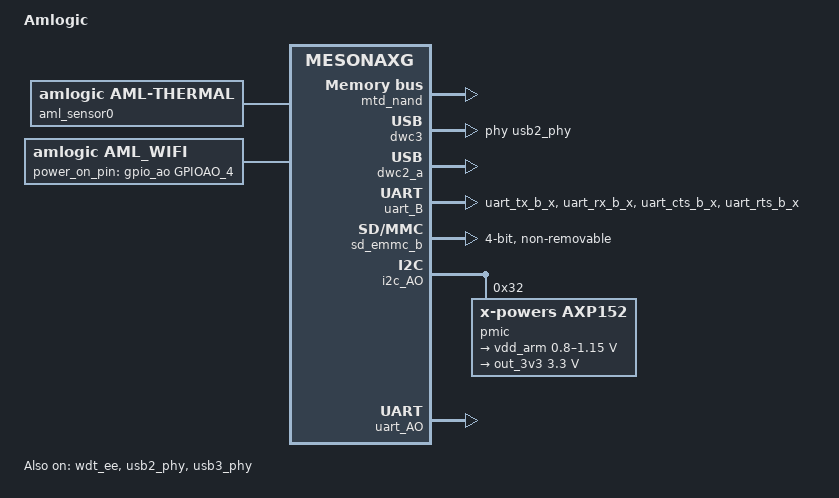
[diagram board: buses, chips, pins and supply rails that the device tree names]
/*
 * arch/arm64/boot/dts/amlogic/axg_sue_s183x_internal.dtsi
 *
 * Copyright (C) 2017 Amlogic, Inc. All rights reserved.
 *
 * This program is free software; you can redistribute it and/or modify
 * it under the terms of the GNU General Public License as published by
 * the Free Software Foundation; either version 2 of the License, or
 * (at your option) any later version.
 *
 * This program is distributed in the hope that it will be useful, but WITHOUT
 * ANY WARRANTY; without even the implied warranty of MERCHANTABILITY or
 * FITNESS FOR A PARTICULAR PURPOSE.  See the GNU General Public License for
 * more details.
 *
 */


/*
 * DT for components located on Stream183x module itself.
 */


#include <dt-bindings/thermal/thermal.h>
#include "mesonaxg.dtsi"

/ {
	model = "Amlogic";
	amlogic-dt-id = "axg_sue_s1832";
	compatible = "sue,stream1832", "amlogic, axg";
	interrupt-parent = <&gic>;
	#address-cells = <2>;
	#size-cells = <2>;

	cpu_opp_table: cpu_opp_table {
		compatible = "operating-points-v2";
		opp-shared;

		opp96MHz: opp@96000000 {
			opp-hz = /bits/ 64 <96000000>;
			opp-microvolt = <850000>;
			clock-latency-ns = <200>;
		};
		opp264MHz: opp@264000000 {
			opp-hz = /bits/ 64 <264000000>;
			opp-microvolt = <850000>;
			clock-latency-ns = <200>;
		};
		opp504MHz: opp@504000000 {
			opp-hz = /bits/ 64 <504000000>;
			opp-microvolt = <850000>;
			clock-latency-ns = <200>;
		};
		opp672MHz: opp@672000000 {
			opp-hz = /bits/ 64 <672000000>;
			opp-microvolt = <850000>;
			clock-latency-ns = <200>;
		};
		opp768MHz: opp@768000000 {
			opp-hz = /bits/ 64 <768000000>;
			opp-microvolt = <950000>;
			clock-latency-ns = <200>;
		};
		opp1_2GHz: opp@1176000000 {
			opp-hz = /bits/ 64 <1176000000>;
			opp-microvolt = <1050000>;
			clock-latency-ns = <200>;
			opp-workmode = <1>; /* 1: REGULATOR_MODE_FAST => PWM only mode on AXP152 */

			/*
			 * An operating point marked with opp-suspend will be set when the system
			 * goes to suspend *or* reboot *or* shutdown.
			 *
			 * For Stream1832 we want to set the AXP152 back to the 1.2 GHz voltage, otherwise
			 * the U-Boot will not be able to boot after a reboot since the vdd_arm voltage
			 * might be too low from a previous frequency change to a lower operating point.
			 */
			opp-suspend;
		};
		opp1_3GHz: opp@1344000000 {
			opp-hz = /bits/ 64 <1344000000>;
			opp-microvolt = <1075000>;
			clock-latency-ns = <200>;
			opp-workmode = <1>; /* 1: REGULATOR_MODE_FAST => PWM only mode on AXP152 */
		};

		/*
		 * The 1.5 GHz operating point is intentionally disabled since VDDCPU is above
		 * the recommended operating conditions.
		 */
		/*
		opp1_5GHz: opp@1512000000 {
			opp-hz = /bits/ 64 <1416000000>;
			opp-microvolt = <1150000>;
			clock-latency-ns = <200>;
			opp-workmode = <1>;
		};
		*/
	};


	aliases {
		serial0 = &uart_AO;
		serial1 = &uart_B;
	};

	memory@00000000 {
		device_type = "memory";
		linux,usable-memory = <0x0 0x000000 0x0 0x20000000>;
	};

	reserved-memory {
		#address-cells = <2>;
		#size-cells = <2>;
		ranges;
		/* global autoconfigured region for contiguous allocations */
		secmon_reserved:linux,secmon {
			compatible = "shared-dma-pool";
			reusable;
			size = <0x0 0x400000>;
			alignment = <0x0 0x400000>;
			alloc-ranges = <0x0 0x05000000 0x0 0x400000>;
		};

		secos_reserved:linux,secos {
			status = "disable";
			compatible = "amlogic, aml_secos_memory";
			reg = <0x0 0x05300000 0x0 0x2000000>;
			no-map;
		};
	};
	mtd_nand {
		compatible = "amlogic, aml_mtd_nand";
		dev_name = "mtdnand";
		status = "okay";
		reg = <0x0 0xFFE07800 0x0 0x200>;
		interrupts = <	0 34 1 >;
		pinctrl-names = "nand_rb_mod","nand_norb_mod", "nand_cs_only";
		pinctrl-0 = <&all_nand_pins>;
		pinctrl-1 = <&all_nand_pins>;
		pinctrl-2 = <&nand_cs_pins>;
		device_id = <0>;

		/*fip/tpl configurations, must be same
		 * with uboot if bl_mode was set as 1
		 * bl_mode: 0 compact mode; 1 descrete mode
		 * if bl_mode was set as 1, fip configeration will work
		 */
		bl_mode = <1>;
		/*copy count of fip*/
		fip_copies = <4>;
		/*size of each fip copy */
		fip_size = <0x200000>;
		nand_clk_ctrl = <0xFFE07000>;
		plat-names = "bootloader","nandnormal";
		plat-num = <2>;
		plat-part-0 = <&bootloader>;
		plat-part-1 = <&nandnormal>;
		bootloader: bootloader{
			enable_pad ="ce0";
			busy_pad = "rb0";
			timming_mode = "mode5";
			bch_mode = "bch8_1k";
			t_rea = <20>;
			t_rhoh = <15>;
			chip_num = <1>;
			part_num = <0>;
			rb_detect = <1>;
		};
		nandnormal: nandnormal{
			enable_pad ="ce0";
			busy_pad = "rb0";
			timming_mode = "mode5";
			bch_mode = "bch8_1k";
			plane_mode = "twoplane";
			t_rea = <20>;
			t_rhoh = <15>;
			chip_num = <2>;
			part_num = <3>;
			partition = <&nand_partitions>;
			rb_detect = <1>;
		};
		nand_partitions:nand_partition{
			/*
			 * if bl_mode is 1, tpl size was generate by
			 * fip_copies * fip_size which
			 * will not skip bad when calculating
			 * the partition size;
			 *
			 * if bl_mode is 0,
			 * tpl partition must be comment out.
			 */
			tpl{
				offset=<0x0 0x0>;
				size=<0x0 0x0>;
			};
			environment{
				offset=<0x0 0x0>;
				size=<0x0 0x80000>;
			};
			constants{
				offset=<0x0 0x0>;
				size=<0x0 0x80000>;
			};
			swufit{
				offset=<0x0 0x0>;
				size=<0x0 0x2000000>;
			};
			fit{
				offset=<0x0 0x0>;
				size=<0x0 0xC00000>;
			};
			data{
				offset=<0xffffffff 0xffffffff>;
				size=<0x0 0x0>;
			};
		};
	};


	aml_sensor0: aml-sensor@0 {
		compatible = "amlogic, aml-thermal";
		device_name = "thermal";
		#thermal-sensor-cells = <1>;
		cooling_devices {
			cpufreq_cool_cluster0 {
				/* Allow to go down to 768 MHz for cooling */
				min_state = <768000>;
				dyn_coeff = <140>;
				cluster_id = <0>;
				node_name = "cpufreq_cool0";
				device_type = "cpufreq";
			};
			cpucore_cool_cluster0 {
				min_state = <1>;
				dyn_coeff = <0>;
				cluster_id = <0>;
				node_name = "cpucore_cool0";
				device_type = "cpucore";
			};
		};
		cpufreq_cool0:cpufreq_cool0 {
			#cooling-cells = <2>; /* min followed by max */
		};
		cpucore_cool0:cpucore_cool0 {
			#cooling-cells = <2>; /* min followed by max */
		};
	};
	thermal-zones {
		soc_thermal {
			polling-delay = <1000>;
			polling-delay-passive = <100>;
			sustainable-power = <1050>;

			thermal-sensors = <&aml_sensor0 3>;

			trips {
				/*
				 * For one reason or another, we need an additional trip-point
				 * which is not the one used in the cooling map below, even if
				 * they are the same values. Otherwise the `hot` trip point will
				 * be active (with the associated cooling-device), even if our
				 * temperature is well below that. Also changing the switch_on
				 * trip point to a temperature of 0 degrees does not work as
				 * expected.
				 */
				switch_on: trip-point@0 {
					temperature = <100000>;
					hysteresis = <3000>;
					type = "passive";
				};
				hot: trip-point@1 {
					temperature = <100000>;
					hysteresis = <3000>;
					type = "passive";
				};
				critical: trip-point@2 {
					temperature = <110000>;
					hysteresis = <1000>;
					type = "critical";
				};
			};

			cooling-maps {
				cpufreq_cooling_map {
					trip = <&hot>;
					cooling-device = <&cpufreq_cool0 THERMAL_NO_LIMIT THERMAL_NO_LIMIT>;
				};

				/* Do not try to cool by disabling CPU cores */
				/*
				cpucore_cooling_map {
					trip = <&control>;
					cooling-device = <&cpucore_cool0 0 3>;
					contribution = <1024>;
				};
				*/
			};
		};
	};

	dwc3: dwc3@ff500000 {
		compatible = "synopsys, dwc3";
		status = "okay";
		reg = <0x0 0xff500000 0x0 0x100000>;
		interrupts = <0 30 4>;
		usb-phy = <&usb2_phy>, <&usb3_phy>;
		cpu-type = "gxl";
		clock-src = "usb3.0";
		clocks = <&clkc CLKID_USB_GENERAL>;
		clock-names = "dwc_general";
	};

	usb2_phy: usb2phy@ffe09000 {
		compatible = "amlogic, amlogic-new-usb2";
		status = "okay";
		portnum = <4>;
		reg = <0x0 0xffe09000 0x0 0x80
					0x0 0xffd01008 0x0 0x4>;
	};

	usb3_phy: usb3phy@ffe09080 {
		compatible = "amlogic, amlogic-new-usb3";
		status = "okay";
		portnum = <0>;
		reg = <0x0 0xffe09080 0x0 0x20>;
		interrupts = <0 16 4>;
		otg = <1>;

		gpio-vbus-power = "GPIOAO_12";
		gpios = <&gpio_ao GPIOAO_12 GPIO_ACTIVE_HIGH>;
		sue,oc-detect;
	};

	dwc2_a {
		compatible = "amlogic, dwc2";
		device_name = "dwc2_a";
		reg = <0x0 0xff400000 0x0 0x40000>;
		status = "okay";
		interrupts = <0 31 4>;
		pl-periph-id = <0>; /** lm name */
		clock-src = "usb0"; /** clock src */
		port-id = <0>;  /** ref to mach/usb.h */
		port-type = <2>;        /** 0: otg, 1: host, 2: slave */
		port-speed = <0>; /** 0: default, high, 1: full */
		port-config = <0>; /** 0: default */
		/*0:default,1:single,2:incr,3:incr4,4:incr8,5:incr16,6:disable*/
		port-dma = <0>;
		port-id-mode = <0>; /** 0: hardware, 1: sw_host, 2: sw_slave*/
		usb-fifo = <728>;
		cpu-type = "gxl";
		/** 0: normal, 1: otg+dwc3 host only, 2: otg+dwc3 device only*/
		controller-type = <3>;
		phy-reg = <0xffe09000>;
		phy-reg-size = <0xa0>;
		clocks = <&clkc CLKID_USB_GENERAL
			&clkc CLKID_USB1_TO_DDR
			&clkc CLKID_USB1>;
		clock-names = "usb_general",
			"usb1",
			"usb1_to_ddr";
	};

	uart_B: serial@ffd23000 {
		compatible = "amlogic, meson-uart";
		reg = <0x0 0xffd23000 0x0 0x18>;
		interrupts = <0 75 1>;
		status = "okay";
		clocks = <&clkc CLKID_CLK81 &clkc CLKID_UART1>;
		clock-names = "clk_uart",
			"clk_gate";
		fifosize = < 64 >;
		pinctrl-names = "default";
		pinctrl-0 = <&uart_b_pins_x>;
	};


	wifi {
		compatible = "amlogic, aml_wifi";
		dev_name = "aml_wifi";
		status = "okay";

		power_on_pin = <&gpio_ao GPIOAO_4 GPIO_ACTIVE_HIGH>;
	};

	sd_emmc_c: emmc@ffe07000 {
		status = "disabled";
		compatible = "amlogic, meson-mmc-axg";
		reg = <0x0 0xffe07000 0x0 0x2000>;
		interrupts = <0 218 1>;
		pinctrl-names = "emmc_clk_cmd_pins", "emmc_all_pins";
		pinctrl-0 = <&emmc_clk_cmd_pins>;
		pinctrl-1 = <&emmc_conf_pull_up &emmc_conf_pull_done>;
		clocks = <&clkc CLKID_SD_EMMC_C>,
			   <&clkc CLKID_SD_EMMC_C_P0_COMP>,
			   <&clkc CLKID_FCLK_DIV2>,
			   <&clkc CLKID_FCLK_DIV5>,
			   <&xtal>;
		clock-names = "core", "clkin0", "clkin1", "clkin2", "xtal";

		bus-width = <8>;
		cap-sd-highspeed;
		cap-mmc-highspeed;
		mmc-ddr-1_8v;
		mmc-hs200-1_8v;

		max-frequency = <200000000>;
		non-removable;
		disable-wp;
		emmc {
			status = "disabled";
			pinname = "emmc";
			ocr_avail = <0x200080>; /**VDD voltage 3.3 ~ 3.4 */
			caps = "MMC_CAP_8_BIT_DATA",
				 "MMC_CAP_MMC_HIGHSPEED",
				 "MMC_CAP_SD_HIGHSPEED",
				 "MMC_CAP_NONREMOVABLE",
				 "MMC_CAP_1_8V_DDR",
				 "MMC_CAP_HW_RESET",
				 "MMC_CAP_ERASE",
				 "MMC_CAP_CMD23";
			/*caps2 = "MMC_CAP2_HS200", "MMC_CAP2_HS400";*/
			f_min = <400000>;
			f_max = <100000000>;
			max_req_size = <0x20000>; /**128KB*/
			gpio_dat3 = <&gpio BOOT_3 GPIO_ACTIVE_HIGH>;
			hw_reset = <&gpio BOOT_9 GPIO_ACTIVE_HIGH>;
			pinmux_base = <0xff634400>;
			card_type = <1>;
			/* 1:mmc card(include eMMC),
			 * 2:sd card(include tSD)
			 */
		};
	};

	sd_emmc_b:sdio@ffe05000 {
		status = "okay";
		compatible = "amlogic, meson-mmc-axg";
		reg = <0x0 0xffe05000 0x0 0x2000>;
		interrupts = <0 217 4>;
		pinctrl-names = "sdio_clk_cmd_pins", "sdio_all_pins";
		pinctrl-0 = <&sdio_clk_cmd_pins>;
		pinctrl-1 = <&sdio_all_pins>;
		clocks = <&clkc CLKID_SD_EMMC_B>,
			   <&clkc CLKID_SD_EMMC_B_P0_COMP>,
			   <&clkc CLKID_FCLK_DIV2>;
		clock-names = "core", "clkin0", "clkin1";

		bus-width = <4>;
		cap-sd-highspeed;
		cap-mmc-highspeed;
		max-frequency = <100000000>;
		non-removable;
		disable-wp;
		sdio {
			pinname = "sdio";
			ocr_avail = <0x200080>; /**VDD voltage 3.3 ~ 3.4 */
			caps = "MMC_CAP_4_BIT_DATA",
				 "MMC_CAP_MMC_HIGHSPEED",
				 "MMC_CAP_SD_HIGHSPEED",
				 "MMC_CAP_NONREMOVABLE",
				 "MMC_CAP_UHS_SDR12",
				 "MMC_CAP_UHS_SDR25",
				 "MMC_CAP_UHS_SDR50",
				 "MMC_CAP_UHS_SDR104",
				 "MMC_PM_KEEP_POWER",
				 "MMC_CAP_SDIO_IRQ";
			f_min = <400000>;
			f_max = <200000000>;
			max_req_size = <0x20000>; /**128KB*/
			card_type = <3>;
			/* 3:sdio device(ie:sdio-wifi),
			 * 4:SD combo (IO+mem) card
			 */
		};
	};

	partitions: partitions{
		parts = <11>;
		part-0 = <&logo>;
		part-1 = <&recovery>;
		part-2 = <&rsv>;
		part-3 = <&tee>;
		part-4 = <&crypt>;
		part-5 = <&misc>;
		part-6 = <&instaboot>;
		part-7 = <&boot>;
		part-8 = <&system>;
		part-9 = <&cache>;
		part-10 = <&data>;

		logo:logo{
			pname = "logo";
			size = <0x0 0x2000000>;
			mask = <1>;
		};
		recovery:recovery{
			pname = "recovery";
			size = <0x0 0x2000000>;
			mask = <1>;
		};
		rsv:rsv{
			pname = "rsv";
			size = <0x0 0x800000>;
			mask = <1>;
		};
		tee:tee{
			pname = "tee";
			size = <0x0 0x800000>;
			mask = <1>;
		};
		crypt:crypt{
			pname = "crypt";
			size = <0x0 0x2000000>;
			mask = <1>;
		};
		misc:misc{
			pname = "misc";
			size = <0x0 0x2000000>;
			mask = <1>;
		};
		instaboot:instaboot{
			pname = "instaboot";
			size = <0x0 0x400000>;
			mask = <1>;
		};
		boot:boot
		{
			pname = "boot";
			size = <0x0 0x2000000>;
			mask = <1>;
		};
		system:system
		{
			pname = "system";
			size = <0x0 0x80000000>;
			mask = <1>;
		};
		cache:cache
		{
			pname = "cache";
			size = <0x0 0x20000000>;
			mask = <2>;
		};
		data:data
		{
			pname = "data";
			size = <0xffffffff 0xffffffff>;
			mask = <4>;
		};
	};

	unifykey{
		compatible = "amlogic, unifykey";
		status = "ok";

		unifykey-num = <6>;
		unifykey-index-0 = <&keysn_0>;
		unifykey-index-1 = <&keysn_1>;
		unifykey-index-2 = <&keysn_2>;
		unifykey-index-3 = <&keysn_3>;
		unifykey-index-4 = <&keysn_4>;
		unifykey-index-5 = <&keysn_5>;

		keysn_0: key_0{
			key-name = "usid";
			key-device = "normal";
			key-permit = "read","write","del";
		};
		keysn_1:key_1{
			key-name = "mac";
			key-device = "normal";
			key-permit = "read","write","del";
		};
		keysn_2:key_2{
			key-name = "secure_boot_set";
			key-device = "efuse";
			key-permit = "write";
		};
		keysn_3:key_3{
			key-name = "mac_bt";
			key-device = "normal";
			key-permit = "read","write","del";
			key-type  = "mac";
		};
		keysn_4:key_4{
			key-name = "mac_wifi";
			key-device = "normal";
			key-permit = "read","write","del";
			key-type = "mac";
		};
		keysn_5:key_5{
			key-name = "deviceid";
			key-device = "normal";
			key-permit = "read","write","del";
		};
	};
};

&CPU0 {
	cpu-supply = <&vdd_arm>;
	operating-points-v2 = <&cpu_opp_table>;
};

&CPU1 {
	operating-points-v2 = <&cpu_opp_table>;
};

&CPU2 {
	operating-points-v2 = <&cpu_opp_table>;
};

&CPU3 {
	operating-points-v2 = <&cpu_opp_table>;
};

/*
&efuse {
	status = "ok";
};
*/

&i2c_AO {
	status = "okay";
	pinctrl-names="default";
	pinctrl-0 = <&ao_i2c_master_pin2>;

	pmic: axp152@30 {
		compatible = "x-powers,axp152";
		reg = <0x32>;
		no-irq;

		regulators {
			vdd_arm: dcdc2 {
				regulator-name = "vdd_arm";
				regulator-min-microvolt = <800000>;
				regulator-max-microvolt = <1150000>;
				regulator-boot-on;
				regulator-always-on;

				/*
				 * Allow the following workmodes (OR'ed together):
				 *   1: REGULATOR_MODE_FAST	=> PWM only mode
				 *   2: REGULATOR_MODE_NORMAL	=> Auto mode
				 */
				regulator-allowed-modes = <3>;
			};

			out_3v3: ldo0 {
				regulator-name = "3v3_out";
				regulator-min-microvolt = <3300000>;
				regulator-max-microvolt = <3300000>;
				regulator-boot-on;
				regulator-always-on;

				regulator-state-mem {
					regulator-off-in-suspend;
				};
			};
		};
	};
};

&remote {
	status = "disabled";
};

&aobus{
	uart_AO: serial@3000 {
		compatible = "amlogic, meson-uart";
		reg = <0x0 0x3000 0x0 0x18>;
		interrupts = <0 193 1>;
		status = "okay";
		clocks = <&xtal>;
		clock-names = "clk_uart";
		xtal_tick_en = <1>;
		fifosize = < 64 >;
		pinctrl-names = "default";
		pinctrl-0 = <&ao_uart_pins>;
		support-sysrq = <0>;	/* 0 not support , 1 support */
	};
};

&pinctrl_aobus {
};

&pinctrl_periphs {
	uart_b_pins_x:uart_b_pins_x {
		mux {
			groups = "uart_tx_b_x",
				"uart_rx_b_x",
				"uart_cts_b_x",
				"uart_rts_b_x";
			function = "uart_b";
		};
	};
};

&wdt_ee {
	status = "okay";
	reset_watchdog_method = <0>; /* 0:sysfs,1:kernel */
};
